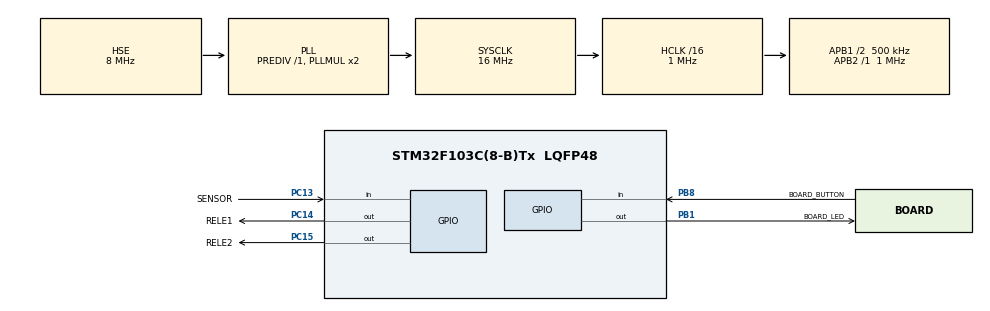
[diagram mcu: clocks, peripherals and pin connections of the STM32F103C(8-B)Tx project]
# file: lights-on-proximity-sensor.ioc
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FREERTOS.Tasks01=defaultTask,0,128,StartDefaultTask
Mcu.Family=STM32F1
Mcu.Name=STM32F103C(8-B)Tx
Mcu.Package=LQFP48
NVIC.PriorityGroup=NVIC_PRIORITYGROUP_4
PA13.Mode=Serial_Wire
PA13.Signal=SYS_JTMS-SWDIO
PA14.Mode=Serial_Wire
PA14.Signal=SYS_JTCK-SWCLK
PB1.GPIO_Label=BOARD_LED
PB1.GPIO_ModeDefaultOutputPP=GPIO_MODE_OUTPUT_PP
PB1.GPIO_Speed=GPIO_SPEED_LOW
PB1.Signal=GPIO_Output
PB8.GPIO_Label=BOARD_BUTTON
PB8.GPIO_Mode=GPIO_MODE_INPUT
PB8.GPIO_PuPd=GPIO_NOPULL
PB8.Signal=GPIO_Input
PC13-TAMPER-RTC.GPIO_Label=SENSOR
PC13-TAMPER-RTC.GPIO_Mode=GPIO_MODE_INPUT
PC13-TAMPER-RTC.GPIO_PuPd=GPIO_NOPULL
PC13-TAMPER-RTC.Signal=GPIO_Input
PC14-OSC32_IN.GPIO_Label=RELE1
PC14-OSC32_IN.GPIO_ModeDefaultOutputPP=GPIO_MODE_OUTPUT_PP
PC14-OSC32_IN.GPIO_Speed=GPIO_SPEED_MEDIUM
PC14-OSC32_IN.Signal=GPIO_Output
PC15-OSC32_OUT.GPIO_Label=RELE2
PC15-OSC32_OUT.GPIO_ModeDefaultOutputPP=GPIO_MODE_OUTPUT_PP
PC15-OSC32_OUT.GPIO_Speed=GPIO_SPEED_MEDIUM
PC15-OSC32_OUT.Signal=GPIO_Output
PD0-OSC_IN.Mode=HSE-External-Oscillator
PD0-OSC_IN.Signal=RCC_OSC_IN
PD1-OSC_OUT.Mode=HSE-External-Oscillator
PD1-OSC_OUT.Signal=RCC_OSC_OUT
ProjectManager.TargetToolchain=MDK-ARM V5
RCC.AHBCLKDivider=RCC_SYSCLK_DIV16
RCC.AHBFreq_Value=1000000
RCC.APB1CLKDivider=RCC_HCLK_DIV2
RCC.APB1Freq_Value=500000
RCC.APB1TimFreq_Value=1000000
RCC.APB2Freq_Value=1000000
RCC.APB2TimFreq_Value=1000000
RCC.HCLKFreq_Value=1000000
RCC.HSIState=RCC_HSI_ON
RCC.PLLSource=RCC_PLLSOURCE_HSE
RCC.PLLSourceVirtual=RCC_PLLSOURCE_HSE
RCC.SYSCLKFreq_VALUE=16000000
RCC.SYSCLKSource=RCC_SYSCLKSOURCE_PLLCLK
RCC.USBFreq_Value=16000000
VP_FREERTOS_VS_ENABLE.Mode=Enabled

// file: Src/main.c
/**
  ******************************************************************************
  * File Name          : main.c
  * Date               : 24/10/2015 12:10:41
  * Description        : Main program body
  ******************************************************************************
  *
  * COPYRIGHT(c) 2015 STMicroelectronics
  *
  * Redistribution and use in source and binary forms, with or without modification,
  * are permitted provided that the following conditions are met:
  *   1. Redistributions of source code must retain the above copyright notice,
  *      this list of conditions and the following disclaimer.
  *   2. Redistributions in binary form must reproduce the above copyright notice,
  *      this list of conditions and the following disclaimer in the documentation
  *      and/or other materials provided with the distribution.
  *   3. Neither the name of STMicroelectronics nor the names of its contributors
  *      may be used to endorse or promote products derived from this software
  *      without specific prior written permission.
  *
  * THIS SOFTWARE IS PROVIDED BY THE COPYRIGHT HOLDERS AND CONTRIBUTORS "AS IS"
  * AND ANY EXPRESS OR IMPLIED WARRANTIES, INCLUDING, BUT NOT LIMITED TO, THE
  * IMPLIED WARRANTIES OF MERCHANTABILITY AND FITNESS FOR A PARTICULAR PURPOSE ARE
  * DISCLAIMED. IN NO EVENT SHALL THE COPYRIGHT HOLDER OR CONTRIBUTORS BE LIABLE
  * FOR ANY DIRECT, INDIRECT, INCIDENTAL, SPECIAL, EXEMPLARY, OR CONSEQUENTIAL
  * DAMAGES (INCLUDING, BUT NOT LIMITED TO, PROCUREMENT OF SUBSTITUTE GOODS OR
  * SERVICES; LOSS OF USE, DATA, OR PROFITS; OR BUSINESS INTERRUPTION) HOWEVER
  * CAUSED AND ON ANY THEORY OF LIABILITY, WHETHER IN CONTRACT, STRICT LIABILITY,
  * OR TORT (INCLUDING NEGLIGENCE OR OTHERWISE) ARISING IN ANY WAY OUT OF THE USE
  * OF THIS SOFTWARE, EVEN IF ADVISED OF THE POSSIBILITY OF SUCH DAMAGE.
  *
  ******************************************************************************
  */

#include "stm32f1xx_hal.h"
#include "cmsis_os.h"

osThreadId defaultTaskHandle;

void SystemClock_Config(void);
static void MX_GPIO_Init(void);
void StartDefaultTask(void const * argument);

int main(void)
{

  /* MCU Configuration----------------------------------------------------------*/

  /* Reset of all peripherals, Initializes the Flash interface and the Systick. */
  HAL_Init();

  /* Configure the system clock */
  SystemClock_Config();

  /* Initialize all configured peripherals */
  MX_GPIO_Init();

  /* USER CODE BEGIN 2 */
	HAL_GPIO_WritePin(GPIOC, GPIO_PIN_14, GPIO_PIN_SET);
	HAL_GPIO_WritePin(GPIOC, GPIO_PIN_15, GPIO_PIN_SET);

	HAL_GPIO_WritePin(GPIOB, GPIO_PIN_1, GPIO_PIN_SET);

  /* USER CODE END 2 */

  /* Create the thread(s) */
  /* definition and creation of defaultTask */
  osThreadDef(defaultTask, StartDefaultTask, osPriorityNormal, 0, 128);
  defaultTaskHandle = osThreadCreate(osThread(defaultTask), NULL);

  /* Start scheduler */
  osKernelStart();

  /* We should never get here as control is now taken by the scheduler */

  /* Infinite loop */
  while (1)
  {

  }

}

/** System Clock Configuration
*/
void SystemClock_Config(void)
{

  RCC_OscInitTypeDef RCC_OscInitStruct;
  RCC_ClkInitTypeDef RCC_ClkInitStruct;

  RCC_OscInitStruct.OscillatorType = RCC_OSCILLATORTYPE_HSE;
  RCC_OscInitStruct.HSEState = RCC_HSE_ON;
  RCC_OscInitStruct.HSEPredivValue = RCC_HSE_PREDIV_DIV1;
  RCC_OscInitStruct.PLL.PLLState = RCC_PLL_ON;
  RCC_OscInitStruct.PLL.PLLSource = RCC_PLLSOURCE_HSE;
  RCC_OscInitStruct.PLL.PLLMUL = RCC_PLL_MUL2;
  HAL_RCC_OscConfig(&RCC_OscInitStruct);

  RCC_ClkInitStruct.ClockType = RCC_CLOCKTYPE_HCLK|RCC_CLOCKTYPE_SYSCLK
                              |RCC_CLOCKTYPE_PCLK1;
  RCC_ClkInitStruct.SYSCLKSource = RCC_SYSCLKSOURCE_PLLCLK;
  RCC_ClkInitStruct.AHBCLKDivider = RCC_SYSCLK_DIV16;
  RCC_ClkInitStruct.APB1CLKDivider = RCC_HCLK_DIV2;
  RCC_ClkInitStruct.APB2CLKDivider = RCC_HCLK_DIV1;
  HAL_RCC_ClockConfig(&RCC_ClkInitStruct, FLASH_LATENCY_0);

}

/** Configure pins as
        * Analog
        * Input
        * Output
        * EVENT_OUT
        * EXTI
        * Free pins are configured automatically as Analog (this feature is enabled through
        * the Code Generation settings)
*/
void MX_GPIO_Init(void)
{

  GPIO_InitTypeDef GPIO_InitStruct;

  /* GPIO Ports Clock Enable */
  __GPIOC_CLK_ENABLE();
  __GPIOD_CLK_ENABLE();
  __GPIOA_CLK_ENABLE();
  __GPIOB_CLK_ENABLE();

  /*Configure GPIO pin : PC13 */
  GPIO_InitStruct.Pin = GPIO_PIN_13;
  GPIO_InitStruct.Mode = GPIO_MODE_INPUT;
  GPIO_InitStruct.Pull = GPIO_NOPULL;
  HAL_GPIO_Init(GPIOC, &GPIO_InitStruct);

  /*Configure GPIO pins : PC14 PC15 */
  GPIO_InitStruct.Pin = GPIO_PIN_14|GPIO_PIN_15;
  GPIO_InitStruct.Mode = GPIO_MODE_OUTPUT_PP;
  GPIO_InitStruct.Speed = GPIO_SPEED_MEDIUM;
  HAL_GPIO_Init(GPIOC, &GPIO_InitStruct);

  /*Configure GPIO pins : PA0 PA1 PA2 PA3
                           PA4 PA5 PA6 PA7
                           PA8 PA9 PA10 PA11
                           PA12 PA15 */
  GPIO_InitStruct.Pin = GPIO_PIN_0|GPIO_PIN_1|GPIO_PIN_2|GPIO_PIN_3
                          |GPIO_PIN_4|GPIO_PIN_5|GPIO_PIN_6|GPIO_PIN_7
                          |GPIO_PIN_8|GPIO_PIN_9|GPIO_PIN_10|GPIO_PIN_11
                          |GPIO_PIN_12|GPIO_PIN_15;
  GPIO_InitStruct.Mode = GPIO_MODE_ANALOG;
  HAL_GPIO_Init(GPIOA, &GPIO_InitStruct);

  /*Configure GPIO pins : PB0 PB2 PB10 PB11
                           PB12 PB13 PB14 PB15
                           PB3 PB4 PB5 PB6
                           PB7 PB9 */
  GPIO_InitStruct.Pin = GPIO_PIN_0|GPIO_PIN_2|GPIO_PIN_10|GPIO_PIN_11
                          |GPIO_PIN_12|GPIO_PIN_13|GPIO_PIN_14|GPIO_PIN_15
                          |GPIO_PIN_3|GPIO_PIN_4|GPIO_PIN_5|GPIO_PIN_6
                          |GPIO_PIN_7|GPIO_PIN_9;
  GPIO_InitStruct.Mode = GPIO_MODE_ANALOG;
  HAL_GPIO_Init(GPIOB, &GPIO_InitStruct);

  /*Configure GPIO pin : PB1 */
  GPIO_InitStruct.Pin = GPIO_PIN_1;
  GPIO_InitStruct.Mode = GPIO_MODE_OUTPUT_PP;
  GPIO_InitStruct.Speed = GPIO_SPEED_LOW;
  HAL_GPIO_Init(GPIOB, &GPIO_InitStruct);

  /*Configure GPIO pin : PB8 */
  GPIO_InitStruct.Pin = GPIO_PIN_8;
  GPIO_InitStruct.Mode = GPIO_MODE_INPUT;
  GPIO_InitStruct.Pull = GPIO_NOPULL;
  HAL_GPIO_Init(GPIOB, &GPIO_InitStruct);

}

/* USER CODE BEGIN 4 */

uint8_t mode=0;
uint32_t next_chang;
/* USER CODE END 4 */

/* StartDefaultTask function */
void StartDefaultTask(void const * argument)
{

  /* USER CODE BEGIN 5 */
	next_chang=HAL_GetTick();

  /* Infinite loop */
  for(;;)
  {

		if((HAL_GPIO_ReadPin(GPIOC, GPIO_PIN_13)==GPIO_PIN_RESET)&&(HAL_GetTick()>next_chang))
		{
			next_chang=HAL_GetTick()+500;

			//HAL_GPIO_WritePin(GPIOB, GPIO_PIN_1, GPIO_PIN_SET);
				switch(mode)
				{
					case 0:
						HAL_GPIO_WritePin(GPIOC, GPIO_PIN_14, GPIO_PIN_RESET);
						HAL_GPIO_WritePin(GPIOC, GPIO_PIN_15, GPIO_PIN_RESET);
						mode=1;
					break;

					case 1:
						HAL_GPIO_WritePin(GPIOC, GPIO_PIN_14, GPIO_PIN_SET);
						HAL_GPIO_WritePin(GPIOC, GPIO_PIN_15, GPIO_PIN_SET);
						mode=0;
					break;

				}

			}

			uint32_t holdTimeStart=HAL_GetTick();
			while(HAL_GPIO_ReadPin(GPIOC, GPIO_PIN_13)==GPIO_PIN_RESET)
			{
				uint32_t msec=HAL_GetTick()-holdTimeStart;

				if(mode==1)
				{
					if(msec>2000)
					{
						HAL_GPIO_WritePin(GPIOC, GPIO_PIN_15, GPIO_PIN_RESET);
						HAL_GPIO_WritePin(GPIOC, GPIO_PIN_14, GPIO_PIN_SET);
					}
					else if(msec>1000)
					{
						HAL_GPIO_WritePin(GPIOC, GPIO_PIN_15, GPIO_PIN_SET);
					}

				}
				osDelay(10);

			}

			osDelay(10);

		}

  /* USER CODE END 5 */
}

/************************ (C) COPYRIGHT STMicroelectronics *****END OF FILE****/
